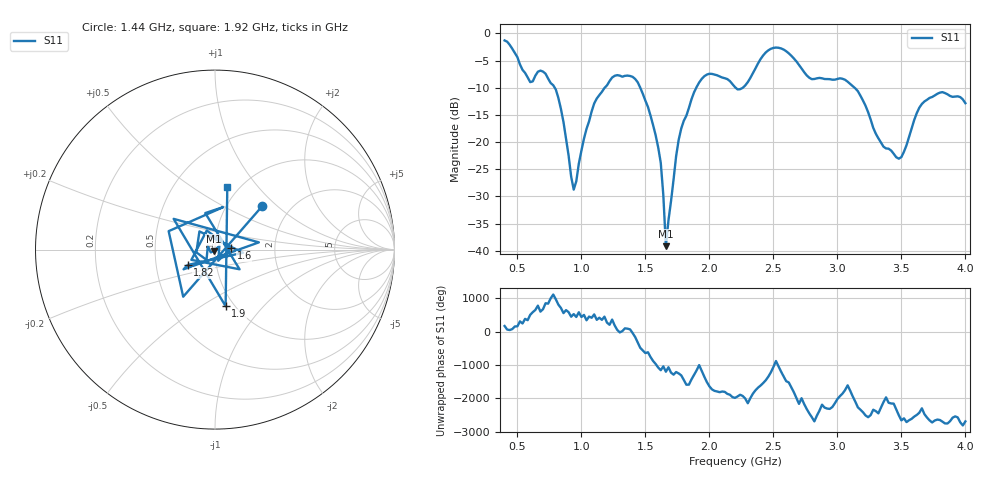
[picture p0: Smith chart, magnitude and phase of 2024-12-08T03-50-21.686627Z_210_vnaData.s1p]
!Created with skrf (http://scikit-rf.org).
# Hz S RI R 50.0
!freq ReS11 ImS11
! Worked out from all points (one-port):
!   181 points, 400 MHz to 4 GHz, reference 50 ohm
!   lowest |S11| = -39.1 dB at 1.66 GHz (marker M1), VSWR 1.02, Z = 49.4 - j0.948 ohm
!   |S11| at or under -10 dB: 792 MHz to 1.182 GHz (389.5 MHz wide, 39.5 % of centre); 1.46 GHz to 1.897 GHz (436.9 MHz wide, 26 % of centre); 3.135 GHz to end of sweep (the widest 3 of 4)
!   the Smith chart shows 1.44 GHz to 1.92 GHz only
!   S11 on the Smith chart (normalised r, x): 1.44 GHz: 1.45, +0.80; 1.6 GHz: 1.20, +0.02; 1.82 GHz: 0.73, -0.13; 1.9 GHz: 0.91, -0.64; 1.92 GHz: 0.88, +0.70
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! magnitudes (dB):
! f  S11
! 400 MHz  -1.3
! 600 MHz  -9.0
! 720 MHz  -7.4
! 800 MHz  -10.3
! 860 MHz  -16.3
! 940 MHz  -28.7
! 1.1 GHz  -12.9
! 1.3 GHz  -7.8
! 1.44 GHz  -9.0
! 1.6 GHz  -21.0
! 1.64 GHz  -29.7
! 1.66 GHz  -39.1
! 1.76 GHz  -19.6
! 1.82 GHz  -15.1
! 1.9 GHz  -9.9
! 1.92 GHz  -9.0
! 2.02 GHz  -7.4
! 2.2 GHz  -9.9
! 2.48 GHz  -2.8
! 2.66 GHz  -4.6
! 2.8 GHz  -8.4
! 3.1 GHz  -9.3
! 3.36 GHz  -20.8
! 3.48 GHz  -23.0
! 3.56 GHz  -19.0
! 3.64 GHz  -13.7
! 3.72 GHz  -11.9
! 4 GHz  -12.8
